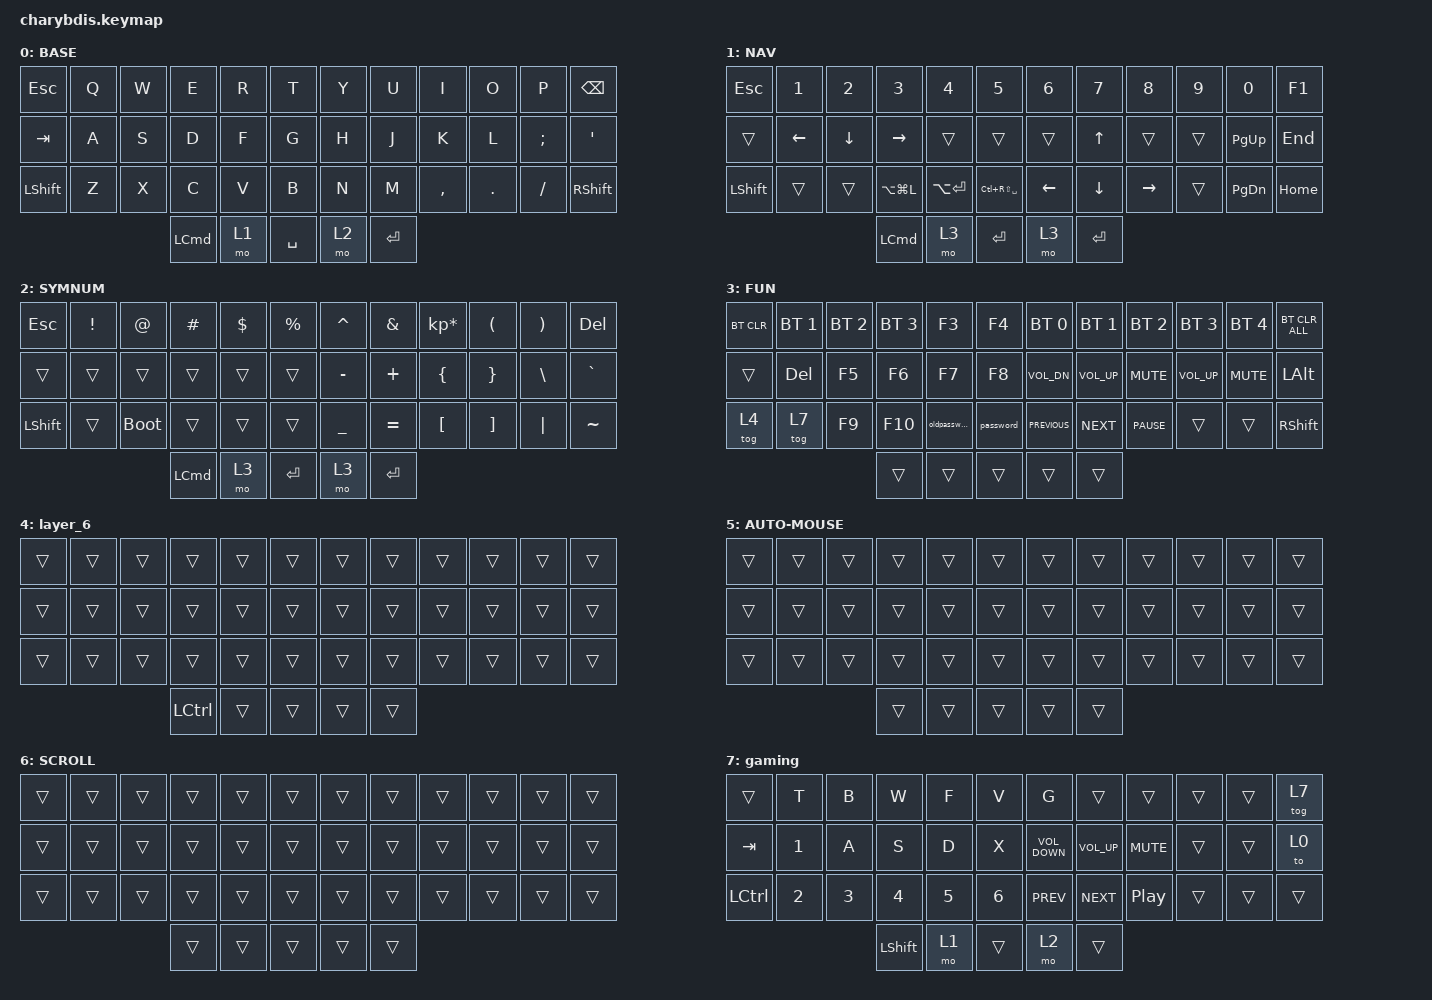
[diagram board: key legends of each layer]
#include <behaviors.dtsi>
#include <dt-bindings/zmk/bt.h>
#include <dt-bindings/zmk/keys.h>
#include <dt-bindings/zmk/mouse.h>
#include <dt-bindings/zmk/outputs.h>
#include <behaviors/mouse_keys.dtsi>
#include <dt-bindings/zmk/ext_power.h>
#include "macros.dtsi"

// / {
//     chosen { zmk,matrix_transform = &default_transform; };
// };

/ {
    /* input config for mouse move mode */
    trackball_listener {
        compatible = "zmk,input-behavior-listener";
        device = <&trackball>;
        layers = <0 1 2 3>;
        evt-type = <INPUT_EV_REL>;
        x-input-code = <INPUT_REL_X>;
        y-input-code = <INPUT_REL_Y>;
        scale-multiplier = <1>;
        scale-divisor = <2>;
        // bindings = <&ib_toggle_layer 7>;
    };

    /* input config for snipe mode 
    trackball_snipe_listener {
        compatible = "zmk,input-behavior-listener";   
        device = <&trackball>;
        layers = <8>;
        evt-type = <INPUT_EV_REL>;
        x-input-code = <INPUT_REL_X>;
        y-input-code = <INPUT_REL_Y>;
        scale-multiplier = <1>;
        scale-divisor = <4>;
    }; */

    /* input config for mouse scroll mode */
    trackball_scroll_listener {
        compatible = "zmk,input-behavior-listener";
        device = <&trackball>;
        layers = <6>;
        evt-type = <INPUT_EV_REL>;            
        x-input-code = <INPUT_REL_MISC>;
        y-input-code = <INPUT_REL_WHEEL>;
        y-invert;
        bindings = <&ib_wheel_scaler 1 14>;
    };

    /* define a resolution down scaler only for INPUT_REL_WHEEL */
    ib_wheel_scaler: ib_wheel_scaler {
        compatible = "zmk,input-behavior-scaler";
        #binding-cells = <2>;
        evt-type = <INPUT_EV_REL>;
        input-code = <INPUT_REL_WHEEL>;
    };

    /* adjust cooldown waiting period for mouse key layer after activated */
    ib_toggle_layer: ib_toggle_layer {
        compatible = "zmk,input-behavior-tog-layer";
        #binding-cells = <1>;
        time-to-live-ms = <750>;
    };

    behaviors {

        hm: homerow_mod {
            compatible = "zmk,behavior-hold-tap";
            #binding-cells = <2>;
            flavor = "tap-preferred";
            tapping-term-ms = <175>; // triggers the hold behavior when the tapping-term-ms has expired
            quick-tap-ms = <150>; // If you press a tapped hold-tap again within quick-tap-ms milliseconds of the first press, it will always trigger the tap behavior.
            require-prior-idle-ms = <185>; // like quick-tap-ms however it will apply for any non-modifier key pressed before it
            bindings = <&kp>, <&kp>;  // hold, tap
        };

        td_cursor: td_scroll_or_cursor {
            compatible = "zmk,behavior-tap-dance";
            #binding-cells = <0>;
            bindings = <&lt 9 ESC>, <&to 8>; // hold, tap, double_tap
        };

        httl: ht_two_layers {
            compatible = "zmk,behavior-hold-tap";
            bindings = <&mo>, <&to>;
            #binding-cells = <2>;
            flavor = "balanced";
            tapping-term-ms = <125>;
        };

        td_layers: td_layer_swap {
            compatible = "zmk,behavior-tap-dance";
            #binding-cells = <0>;
            bindings = <&to 0>, <&to 5>, <&to 4>; // tap, double_tap, tripple_tap
        };

        td_clk_scrl: td_click_or_scroll {
            compatible = "zmk,behavior-tap-dance";
            #binding-cells = <0>;
            tapping-term-ms = <250>;
            bindings = <&mkp RCLK>, <&mo 9>;  // tap/hold, double_tap
        };

        td_bore: BASE_or_EXTRA {
            compatible = "zmk,behavior-tap-dance";
            #binding-cells = <0>;
            bindings = <&mo 6>, <&to 0>;
        };
    };


    combos {
        compatible = "zmk,combos";

        LeftClickRight {
            bindings = <&mkp LCLK>;
            key-positions = <30 31>;
        };

        RightClickRight {
            bindings = <&mkp RCLK>;
            key-positions = <31 32>;
        };

        MiddleClickRight {
            bindings = <&mkp MCLK>;
            key-positions = <32 33>;
        };

        ParaLeft {
            bindings = <&kp LEFT_PARENTHESIS>;
            key-positions = <4 16>;
        };

        ParaRight {
            bindings = <&kp RIGHT_PARENTHESIS>;
            key-positions = <7 19>;
        };

        BrakLeft {
            bindings = <&kp LEFT_BRACKET>;
            key-positions = <3 15>;
        };

        BrakRight {
            bindings = <&kp RIGHT_BRACKET>;
            key-positions = <8 20>;
        };

        BraceLeft {
            bindings = <&kp LEFT_BRACE>;
            key-positions = <2 14>;
        };

        BraceRight {
            bindings = <&kp RIGHT_BRACE>;
            key-positions = <9 21>;
        };

        Delete {
            bindings = <&kp DELETE>;
            key-positions = <8 9>;
        };

        CapsWord {
            bindings = <&caps_word>;
            key-positions = <17 18>;
        };

        layer3 {
            bindings = <&mo 3>;
            key-positions = <39 37>;
        };

        scroll {
            bindings = <&mo 6>;
            key-positions = <34 35>;
        };

        ctrl {
            bindings = <&kp LEFT_CONTROL>;
            key-positions = <24 24 25>;
        };

        alt {
            bindings = <&kp LEFT_ALT>;
            key-positions = <12 13>;
        };

        win {
            bindings = <&kp LEFT_WIN>;
            key-positions = <0 1>;
        };

        back {
            bindings = <&kp C_PREVIOUS>;
            key-positions = <19 18>;
        };

        forward {
            bindings = <&kp C_NEXT>;
            key-positions = <19 20>;
        };
    };
    
    macros {
        password: new_macro {
            compatible = "zmk,behavior-macro";
            #binding-cells = <0>;
            bindings = <&none &kp N>;
            label = "NEW_MACRO";
        };

        oldpassword: oldpassword {
            compatible = "zmk,behavior-macro";
            #binding-cells = <0>;
            bindings = <&none &kp N>;
            label = "OLDPASSWORD";
        };
    };

// ╭──────┬──────┬──────┬──────┬──────┬──────╮  ╭──────┬──────┬──────┬──────┬──────┬──────╮
//    00     01     02     03    04      05        06     07     08     09     10     11
// ├──────┼──────┼──────┼──────┼──────┼──────┤  ├──────┼──────┼──────┼──────┼──────┼──────┤
//    12     13     14     15    16      17        18     19     20     21     22     23
// ├──────┼──────┼──────┼──────┼──────┼──────┤  ├──────┼──────┼──────┼──────┼──────┼──────┤
//    24     25     26     27    28      29        30     31     32     33     34     35
// ╰──────┴──────┴──────┼──────┼──────┼──────┤  ├──────┼──────┼──────┴──────┴──────┴──────╯
//                         36     37     38        39     40
//                      ╰──────┴──────┴──────╯  ╰──────┴──────╯
// #define BASE    0
// #define NUM     1
// #define NAV     2
// #define SYM     3
// #define GAME    4
// #define PHOTOS  5
// #define EXTRAS  6
// #define MOUSE   7
// #define SLOW    8
// #define SCROLL  9

    keymap {
        compatible = "zmk,keymap";

        BASE {
            bindings = <
&kp ESC         &kp Q  &kp W  &kp E             &kp R  &kp T        &kp Y  &kp U    &kp I      &kp O    &kp P          &kp BSPC
&kp TAB         &kp A  &kp S  &kp D             &kp F  &kp G        &kp H  &kp J    &kp K      &kp L    &kp SEMICOLON  &kp APOS
&kp LEFT_SHIFT  &kp Z  &kp X  &kp C             &kp V  &kp B        &kp N  &kp M    &kp COMMA  &kp DOT  &kp SLASH      &kp RIGHT_SHIFT
                              &kp LEFT_COMMAND  &mo 1  &kp SPACE    &mo 2  &kp RET
            >;
        };

        NAV {
            bindings = <
&kp ESCAPE      &kp NUMBER_1  &kp NUMBER_2  &kp NUMBER_3      &kp NUMBER_4  &kp NUMBER_5         &kp NUMBER_6    &kp NUMBER_7    &kp NUMBER_8     &kp NUMBER_9  &kp NUMBER_0   &kp F1
&trans          &kp LEFT      &kp DOWN      &kp RIGHT         &trans        &trans               &trans          &kp UP_ARROW    &trans           &trans        &kp PAGE_UP    &kp END
&kp LEFT_SHIFT  &trans        &trans        &kp LA(LG(L))     &kp LA(RET)   &kp LC(RS(SPACE))    &kp LEFT_ARROW  &kp DOWN_ARROW  &kp RIGHT_ARROW  &trans        &kp PAGE_DOWN  &kp HOME
                                            &kp LEFT_COMMAND  &mo 3         &kp ENTER            &mo 3           &kp ENTER
            >;
        };

        SYMNUM {
            bindings = <
&kp ESCAPE      &kp EXCL  &kp AT       &kp HASH          &kp DLLR  &kp PRCNT    &kp CARET       &kp AMPS   &kp KP_MULTIPLY   &kp LPAR           &kp RPAR       &kp DEL
&trans          &trans    &trans       &trans            &trans    &trans       &kp MINUS       &kp PLUS   &kp LEFT_BRACE    &kp RIGHT_BRACE    &kp BACKSLASH  &kp GRAVE
&kp LEFT_SHIFT  &trans    &bootloader  &trans            &trans    &trans       &kp UNDERSCORE  &kp EQUAL  &kp LEFT_BRACKET  &kp RIGHT_BRACKET  &kp PIPE       &kp TILDE
                                       &kp LEFT_COMMAND  &mo 3     &kp ENTER    &mo 3           &kp ENTER
            >;
        };

        FUN {
            bindings = <
&bt BT_CLR  &bt BT_SEL 1  &bt BT_SEL 2  &bt BT_SEL 3  &kp F3        &kp F4       &bt BT_SEL 0    &bt BT_SEL 1     &bt BT_SEL 2  &bt BT_SEL 3     &bt BT_SEL 4  &bt BT_CLR_ALL
&trans      &kp DEL       &kp F5        &kp F6        &kp F7        &kp F8       &kp C_VOL_DN    &kp C_VOLUME_UP  &kp K_MUTE    &kp C_VOLUME_UP  &kp C_MUTE    &kp LALT
&tog 4      &tog 7        &kp F9        &kp F10       &oldpassword  &password    &kp K_PREVIOUS  &kp C_NEXT       &kp C_PAUSE   &trans           &trans        &kp RIGHT_SHIFT
                                        &trans        &trans        &trans       &trans          &trans
            >;
        };

        layer_6 {
            bindings = <
&trans  &trans  &trans  &trans            &trans  &trans    &trans  &trans  &trans  &trans  &trans  &trans
&trans  &trans  &trans  &trans            &trans  &trans    &trans  &trans  &trans  &trans  &trans  &trans
&trans  &trans  &trans  &trans            &trans  &trans    &trans  &trans  &trans  &trans  &trans  &trans
                        &kp LEFT_CONTROL  &trans  &trans    &trans  &trans
            >;
        };

        AUTO-MOUSE {
            bindings = <
&trans  &trans  &trans  &trans  &trans  &trans    &trans  &trans  &trans  &trans  &trans  &trans
&trans  &trans  &trans  &trans  &trans  &trans    &trans  &trans  &trans  &trans  &trans  &trans
&trans  &trans  &trans  &trans  &trans  &trans    &trans  &trans  &trans  &trans  &trans  &trans
                        &trans  &trans  &trans    &trans  &trans
            >;
        };

        SCROLL {
            bindings = <
&trans  &trans  &trans  &trans  &trans  &trans    &trans  &trans  &trans  &trans  &trans  &trans
&trans  &trans  &trans  &trans  &trans  &trans    &trans  &trans  &trans  &trans  &trans  &trans
&trans  &trans  &trans  &trans  &trans  &trans    &trans  &trans  &trans  &trans  &trans  &trans
                        &trans  &trans  &trans    &trans  &trans
            >;
        };

        gaming {
            bindings = <
&trans            &kp T         &kp B         &kp W           &kp F         &kp V           &kp G              &trans           &trans            &trans  &trans  &tog 7
&kp TAB           &kp NUMBER_1  &kp A         &kp S           &kp D         &kp X           &kp C_VOLUME_DOWN  &kp C_VOLUME_UP  &kp K_MUTE        &trans  &trans  &to 0
&kp LEFT_CONTROL  &kp NUMBER_2  &kp NUMBER_3  &kp NUMBER_4    &kp NUMBER_5  &kp NUMBER_6    &kp K_PREV         &kp K_NEXT       &kp C_PLAY_PAUSE  &trans  &trans  &trans
                                              &kp LEFT_SHIFT  &mo 1         &trans          &mo 2              &trans
            >;
        };
    };
};
